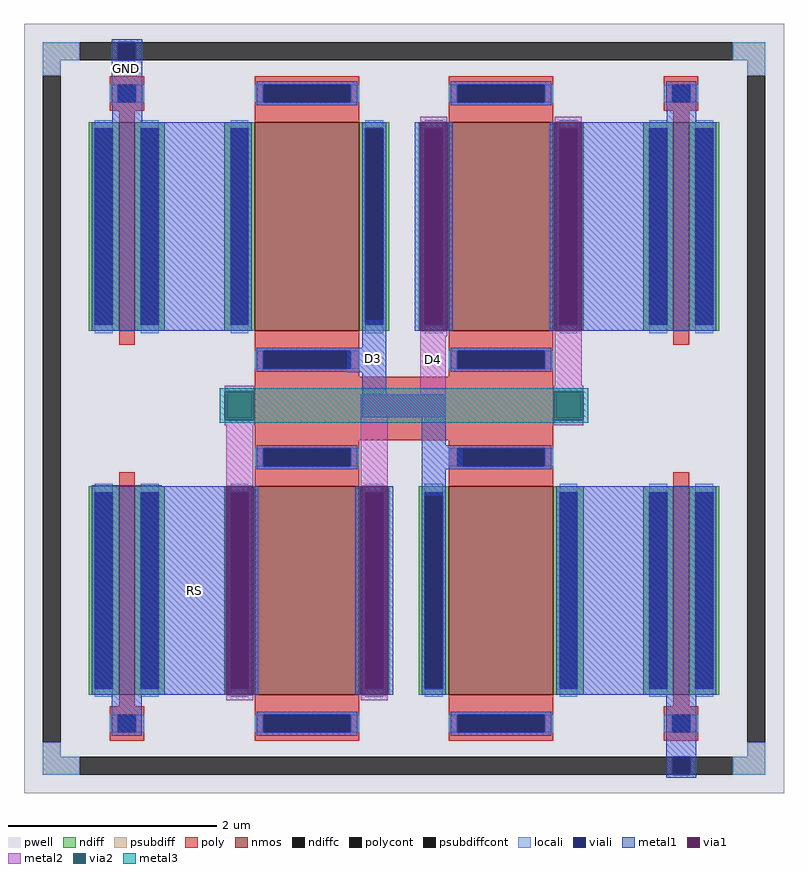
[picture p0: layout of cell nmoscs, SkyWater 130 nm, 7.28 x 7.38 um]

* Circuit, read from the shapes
.subckt nmoscs D3 D4 GND RS
XM1 RS RS RS GND sky130_fd_pr__nfet_01v8 w=2 l=0.15 m=2
XM2 GND GND GND GND sky130_fd_pr__nfet_01v8 w=2 l=0.15 m=2
XM3 D4 D3 RS GND sky130_fd_pr__nfet_01v8 w=2 l=1 m=2
XM4 D3 D3 GND GND sky130_fd_pr__nfet_01v8 w=2 l=1 m=2
.ends

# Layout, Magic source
magic
tech sky130A
magscale 1 2
<< pwell >>
rect -384 -798 1072 677
<< psubdiff >>
rect -348 607 -277 641
rect 974 607 1036 641
rect -348 577 -314 607
rect 1002 577 1036 607
rect -348 -728 -314 -700
rect 1002 -728 1036 -700
rect -348 -762 -277 -728
rect 974 -762 1036 -728
<< psubdiffcont >>
rect -277 607 974 641
rect -348 -700 -314 577
rect 1002 -700 1036 577
rect -277 -762 974 -728
<< poly >>
rect 58 -121 630 0
<< locali >>
rect -348 607 -277 641
rect 974 607 1036 641
rect -348 577 -314 607
rect -348 -728 -314 -700
rect 1002 577 1036 607
rect 1002 -728 1036 -700
rect -348 -762 -277 -728
rect 974 -762 1036 -728
<< viali >>
rect -204 607 -170 641
rect 858 -762 892 -728
<< metal1 >>
rect -216 641 -157 647
rect -216 607 -204 641
rect -170 607 -157 641
rect -216 555 -157 607
rect -215 488 -157 555
rect 847 488 904 566
rect -254 88 52 488
rect 264 56 310 109
rect 365 88 375 488
rect 427 88 437 488
rect 623 88 633 488
rect 685 88 942 488
rect 235 9 310 56
rect 264 -33 310 9
rect 264 -77 424 -33
rect 378 -131 424 -77
rect 378 -177 457 -131
rect -254 -209 -120 -208
rect -254 -608 3 -209
rect -216 -609 3 -608
rect 55 -609 65 -209
rect 251 -609 261 -209
rect 313 -609 323 -209
rect 378 -228 424 -177
rect 636 -609 942 -209
rect -216 -687 -158 -609
rect 846 -728 904 -609
rect 846 -762 858 -728
rect 892 -762 904 -728
rect 846 -768 904 -762
<< via1 >>
rect 375 88 427 488
rect 633 88 685 488
rect 3 -609 55 -209
rect 261 -609 313 -209
<< metal2 >>
rect 375 488 427 498
rect 375 78 427 88
rect 633 488 685 498
rect 1 -27 57 -17
rect 375 -33 424 78
rect 633 -17 685 88
rect 1 -93 57 -83
rect 261 -77 424 -33
rect 631 -27 687 -17
rect 3 -209 55 -93
rect 3 -619 55 -609
rect 261 -209 313 -77
rect 631 -93 687 -83
rect 261 -619 313 -609
<< via2 >>
rect 1 -83 57 -27
rect 631 -83 687 -27
<< metal3 >>
rect -9 -27 697 -22
rect -9 -83 1 -27
rect 57 -83 631 -27
rect 687 -83 697 -27
rect -9 -88 697 -83
use sky130_fd_pr__nfet_01v8_Q6XT6P  sky130_fd_pr__nfet_01v8_Q6XT6P_0
transform 1 0 344 0 1 -409
box -344 -288 344 288
use sky130_fd_pr__nfet_01v8_Q6XT6P  sky130_fd_pr__nfet_01v8_Q6XT6P_1
transform 1 0 344 0 1 288
box -344 -288 344 288
use sky130_fd_pr__nfet_01v8_SCJFGL  sky130_fd_pr__nfet_01v8_SCJFGL_0
transform 1 0 875 0 1 -440
box -73 -257 73 257
use sky130_fd_pr__nfet_01v8_SCJFGL  sky130_fd_pr__nfet_01v8_SCJFGL_1
transform 1 0 -187 0 1 -440
box -73 -257 73 257
use sky130_fd_pr__nfet_01v8_TCR5KT  sky130_fd_pr__nfet_01v8_TCR5KT_0
transform 1 0 -187 0 1 319
box -73 -257 73 257
use sky130_fd_pr__nfet_01v8_TCR5KT  sky130_fd_pr__nfet_01v8_TCR5KT_1
transform 1 0 875 0 1 319
box -73 -257 73 257
<< labels >>
flabel metal1 285 35 285 35 0 FreeSans 160 0 0 0 D3
port 0 nsew
flabel metal2 400 34 401 34 0 FreeSans 160 0 0 0 D4
port 1 nsew
flabel metal1 -187 591 -187 591 0 FreeSans 160 0 0 0 GND
port 2 nsew
flabel metal1 -57 -410 -57 -410 0 FreeSans 160 0 0 0 RS
port 3 nsew
<< end >>

# cell sky130_fd_pr__nfet_01v8_Q6XT6P: kit device sky130_fd_pr__nfet_01v8, w 2 l 1 m 1 nf 2 diffcov 100 polycov 100 guard 0 glc 1 grc 1 gtc 1 gbc 1 tbcov 100 rlcov 100 topc 1 botc 1 poverlap 0 doverlap 0 lmin 0.15 wmin 0.42 compatible {sky130_fd_pr__nfet_01v8 sky130_fd_pr__nfet_01v8_lvt sky130_fd_bs_flash__special_sonosfet_star sky130_fd_pr__nfet_g5v0d10v5 sky130_fd_pr__nfet_05v0_nvt sky130_fd_pr__nfet_03v3_nvt} full_metal 1 viasrc 100 viadrn 100 viagate 100 viagb 0 viagr 0 viagl 0 viagt 0

# cell sky130_fd_pr__nfet_01v8_SCJFGL: kit device sky130_fd_pr__nfet_01v8, w 2 l 0.150 m 1 nf 1 diffcov 100 polycov 100 guard 0 glc 1 grc 1 gtc 1 gbc 1 tbcov 100 rlcov 100 topc 0 botc 1 poverlap 0 doverlap 1 lmin 0.15 wmin 0.42 compatible {sky130_fd_pr__nfet_01v8 sky130_fd_pr__nfet_01v8_lvt sky130_fd_bs_flash__special_sonosfet_star sky130_fd_pr__nfet_g5v0d10v5 sky130_fd_pr__nfet_05v0_nvt sky130_fd_pr__nfet_03v3_nvt} full_metal 1 viasrc 100 viadrn 100 viagate 100 viagb 0 viagr 0 viagl 0 viagt 0

# cell sky130_fd_pr__nfet_01v8_TCR5KT: kit device sky130_fd_pr__nfet_01v8, w 2 l 0.150 m 1 nf 1 diffcov 100 polycov 100 guard 0 glc 1 grc 1 gtc 1 gbc 1 tbcov 100 rlcov 100 topc 1 botc 0 poverlap 0 doverlap 1 lmin 0.15 wmin 0.42 compatible {sky130_fd_pr__nfet_01v8 sky130_fd_pr__nfet_01v8_lvt sky130_fd_bs_flash__special_sonosfet_star sky130_fd_pr__nfet_g5v0d10v5 sky130_fd_pr__nfet_05v0_nvt sky130_fd_pr__nfet_03v3_nvt} full_metal 1 viasrc 100 viadrn 100 viagate 100 viagb 0 viagr 0 viagl 0 viagt 0
